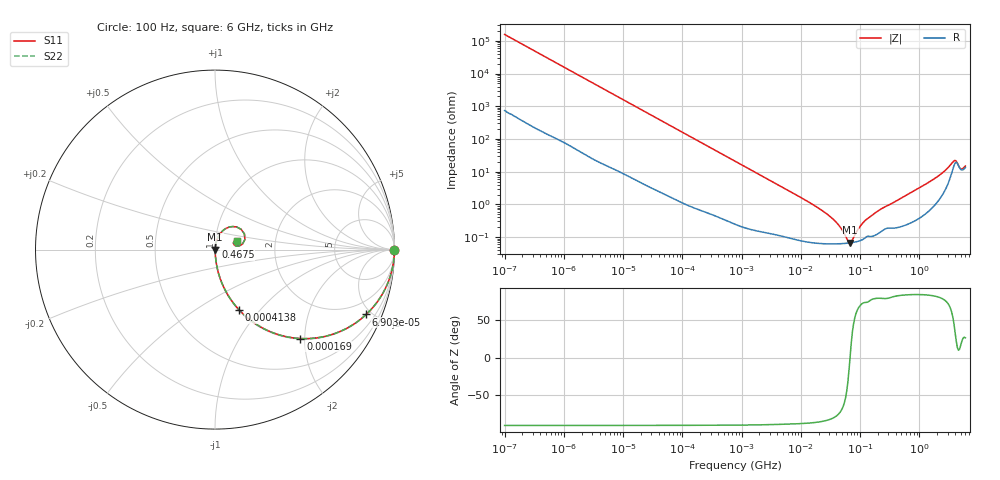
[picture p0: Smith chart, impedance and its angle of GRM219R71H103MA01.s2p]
!Murata Part Number: GRM219R71H103MA01
!These Parameters are Measured in Series Mode Connection
!Data Generated on Mar 30, 2021
!  o--ll--o
!Port1  Port2
!  o------o
!Operation Temp=25[degC], DC Bias Voltage=0[V]
!Freq. Start=100[Hz] Stop=6[GHz] 401[Steps]
# Hz S RI R 50
!Freq.(Hz) S11(Real) S11(Imag) S21(Real) S21(Imag) S12(Real) S12(Imag) S22(Real) S22(Imag)
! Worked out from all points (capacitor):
!   401 points, 100 Hz to 6 GHz, reference 50 ohm
!   read as one part in series: C = 10.1 nF near 109 Hz
!   lowest |Z| = 66.6 mohm at 68.17 MHz (marker M1)
!   series resonance near 67.74 MHz, so ESL is about 550 pH
!   S11 on the Smith chart (normalised r, x): 100 Hz: open; 69.03 kHz: 1.03, -4.65; 169 kHz: 1.01, -1.90; 413.8 kHz: 1.01, -0.78; 467.5 MHz: 1.00, +0.03; 6 GHz: 1.27, +0.13
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100  1 -0.000637  3.4e-06 0.000637  3.4e-06 0.000637  1 -0.000637
2008  0.9998 -0.0127  0.000221 0.0127  0.000221 0.0127  0.9998 -0.0127
12041  0.9939 -0.0751  0.00609 0.0751  0.00609 0.0751  0.9939 -0.0751
40335  0.939 -0.2363  0.061 0.2363  0.061 0.2363  0.939 -0.2363
69028  0.8421 -0.3614  0.1579 0.3614  0.1579 0.3614  0.8421 -0.3614
169018  0.4757 -0.4955  0.5243 0.4955  0.5243 0.4955  0.4757 -0.4955
413847  0.135 -0.3366  0.865 0.3366  0.865 0.3366  0.135 -0.3366
774597  0.0442 -0.1997  0.9558 0.1997  0.9558 0.1997  0.0442 -0.1997
2481164  0.00565 -0.0653  0.9943 0.0653  0.9943 0.0653  0.00565 -0.0653
1.555665e7  0.000772 -0.0101  0.9992 0.0101  0.9992 0.0101  0.000772 -0.0101
3.64232e7  0.000628 -0.00325  0.9994 0.00325  0.9994 0.00325  0.000628 -0.00325
4.764863e7  0.00063 -0.00177  0.9994 0.00177  0.9994 0.00177  0.00063 -0.00177
6.233367e7  0.000652 -0.000409  0.9993 0.000409  0.9993 0.000409  0.000652 -0.000409
6.817316e7  0.000665 3.23e-05  0.9993 -3.23e-05  0.9993 -3.23e-05  0.000665 3.23e-05
1.220122e8  0.000955 0.00307  0.999 -0.00307  0.999 -0.00307  0.000955 0.00307
3.124326e8  0.00197 0.00954  0.998 -0.00954  0.998 -0.00954  0.00197 0.00954
4.674818e8  0.00223 0.0144  0.9978 -0.0144  0.9978 -0.0144  0.00223 0.0144
1.873145e9  0.0138 0.0618  0.9862 -0.0618  0.9862 -0.0618  0.0138 0.0618
3.666503e9  0.1214 0.1258  0.8786 -0.1258  0.8786 -0.1258  0.1214 0.1258
4.193612e9  0.1667 0.0561  0.8333 -0.0561  0.8333 -0.0561  0.1667 0.0561
5.016141e9  0.1055 0.0276  0.8945 -0.0276  0.8945 -0.0276  0.1055 0.0276
6e9  0.1211 0.0506  0.8789 -0.0506  0.8789 -0.0506  0.1211 0.0506
